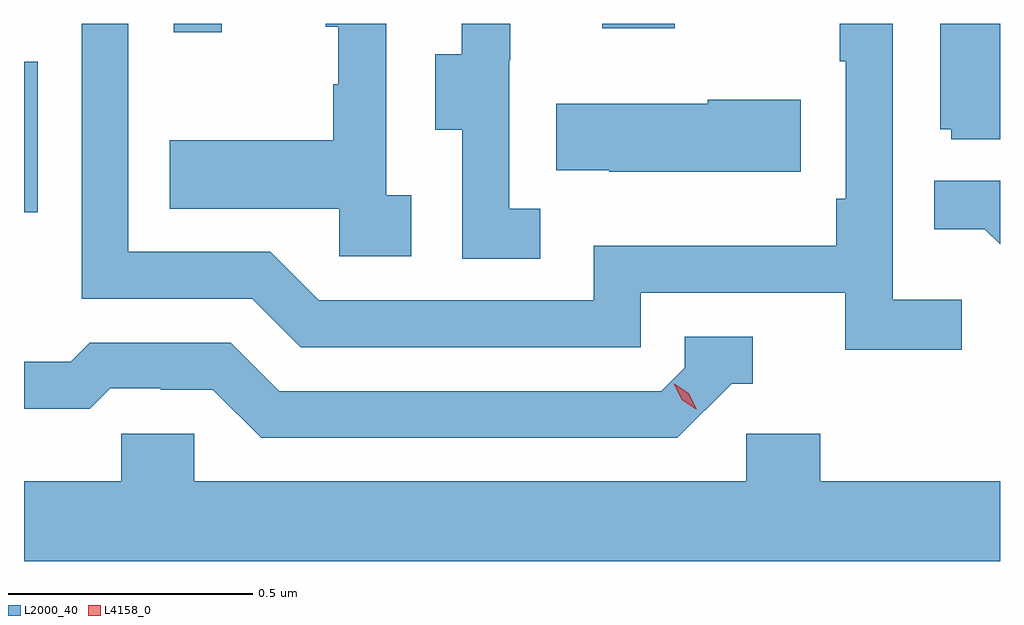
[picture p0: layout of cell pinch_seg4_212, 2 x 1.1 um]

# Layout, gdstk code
import gdstk
lib = gdstk.Library(unit=1e-6, precision=1e-09)
def R(c, l, rs):  # rectangles x0, y0, x1, y1
    for r in rs: c.add(gdstk.rectangle(r[:2], r[2:], *l))
def P(c, l, *ps):  # polygons
    for p in ps: c.add(gdstk.Polygon(p, *l))
L2000_40 = (2000, 40)
L4158_0 = (4158, 0)

pinch_seg4_212 = lib.new_cell('pinch_seg4_212')
R(pinch_seg4_212, L2000_40, [(984.2,826.839,984.228,827.148), (984.507,827.208,984.605,827.226), (985.385,827.217,985.533,827.226)])
P(pinch_seg4_212, L2000_40, [(984.994,826.874),(984.942,826.874),(984.942,827.226),(984.818,827.226),(984.818,827.22),(984.844,827.22),(984.844,827.102),(984.834,827.102),(984.834,826.987),(984.499,826.987),(984.499,826.847),(984.846,826.847),(984.846,826.749),(984.994,826.749)],
  [(986.2,827.226),(986.078,827.226),(986.078,827.01),(986.1,827.01),(986.1,826.989),(986.2,826.989)],
  [(986.122,826.66),(985.98,826.66),(985.98,827.226),(985.872,827.226),(985.872,827.149),(985.884,827.149),(985.884,826.867),(985.864,826.867),(985.864,826.771),(985.368,826.771),(985.368,826.659),(984.804,826.659),(984.705,826.758),(984.414,826.758),(984.414,827.226),(984.318,827.226),(984.318,826.662),(984.668,826.662),(984.767,826.563),(985.464,826.563),(985.464,826.674),(985.883,826.674),(985.883,826.558),(986.122,826.558)],
  [(985.258,826.847),(985.194,826.847),(985.194,827.151),(985.196,827.151),(985.196,827.226),(985.097,827.226),(985.097,827.163),(985.043,827.163),(985.043,827.008),(985.098,827.008),(985.098,826.744),(985.258,826.744)],
  [(985.792,827.07),(985.601,827.07),(985.601,827.062),(985.291,827.062),(985.291,826.925),(985.399,826.925),(985.399,826.922),(985.792,826.922)],
  [(986.2,826.904),(986.065,826.904),(986.065,826.805),(986.169,826.805),(986.2,826.774)],
  [(985.65,826.488),(985.693,826.488),(985.693,826.584),(985.554,826.584),(985.554,826.521),(985.506,826.473),(984.723,826.473),(984.624,826.572),(984.335,826.572),(984.296,826.533),(984.2,826.533),(984.2,826.437),(984.335,826.437),(984.377,826.479),(984.48,826.479),(984.48,826.476),(984.587,826.476),(984.686,826.377),(985.539,826.377)],
  [(986.2,826.288),(985.832,826.288),(985.832,826.386),(985.68,826.386),(985.68,826.288),(984.549,826.288),(984.549,826.386),(984.399,826.386),(984.399,826.288),(984.2,826.288),(984.2,826.124),(986.2,826.124)])
P(pinch_seg4_212, L4158_0, [(985.578,826.436),(985.548,826.455),(985.531,826.488),(985.531,826.488),(985.532,826.488),(985.562,826.469),(985.579,826.436),(985.579,826.436)])

lib.write_gds('pinch_seg4_212.gds')
